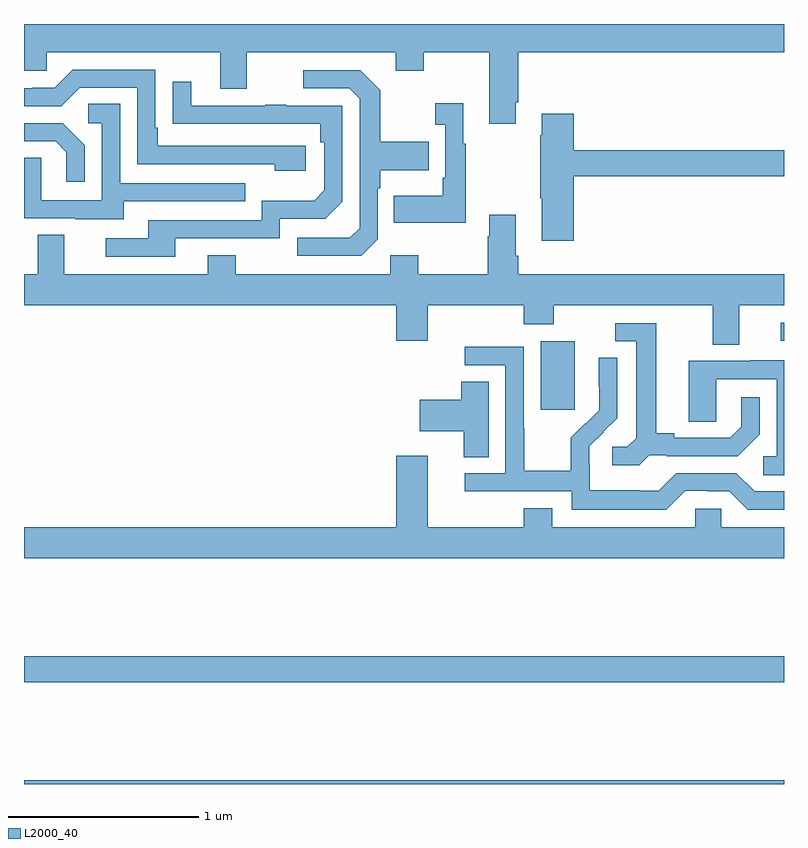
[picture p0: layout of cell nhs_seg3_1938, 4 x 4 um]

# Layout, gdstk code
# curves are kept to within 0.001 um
import gdstk
lib = gdstk.Library(unit=1e-6, precision=1e-09)
def R(c, l, rs):  # rectangles x0, y0, x1, y1
    for r in rs: c.add(gdstk.rectangle(r[:2], r[2:], *l))
def P(c, l, *ps):  # polygons
    for p in ps: c.add(gdstk.Polygon(p, *l))
L2000_40 = (2000, 40)

nhs_seg3_1938 = lib.new_cell('nhs_seg3_1938')
R(nhs_seg3_1938, L2000_40, [(211,694.4,215,694.42), (211,694.936,215,695.072), (213.719,696.369,213.898,696.73), (214.983,696.732,215,696.828)])
P(nhs_seg3_1938, L2000_40, [(211,698.154),(211.119,698.154),(211.119,698.252),(212.033,698.252),(212.033,698.058),(212.173,698.058),(212.173,698.252),(212.957,698.252),(212.957,698.153),(213.105,698.153),(213.105,698.252),(213.449,698.252),(213.449,697.875),(213.589,697.875),(213.589,697.987),(213.602,697.987),(213.602,698.252),(215,698.252),(215,698.4),(211,698.4)],
  [(212.482,697.758),(211.705,697.758),(211.705,697.855),(211.692,697.855),(211.692,698.16),(211.257,698.16),(211.161,698.064),(211.043,698.064),(211.043,698.061),(211,698.061),(211,697.968),(211.197,697.968),(211.293,698.064),(211.596,698.064),(211.596,697.662),(212.321,697.662),(212.321,697.628),(212.482,697.628)],
  [(212.862,697.266),(212.862,697.535),(212.875,697.535),(212.875,697.631),(213.131,697.631),(213.131,697.779),(212.875,697.779),(212.875,698.051),(212.769,698.157),(212.469,698.157),(212.469,698.061),(212.712,698.061),(212.766,698.007),(212.766,697.326),(212.715,697.275),(212.439,697.275),(212.439,697.179),(212.775,697.179)],
  [(211.795,697.272),(212.346,697.272),(212.346,697.374),(212.586,697.374),(212.676,697.464),(212.676,697.971),(212.381,697.971),(212.381,697.976),(212.269,697.976),(212.269,697.971),(211.879,697.971),(211.879,698.095),(211.783,698.095),(211.783,697.876),(212.56,697.875),(212.56,697.778),(212.58,697.778),(212.58,697.524),(212.527,697.471),(212.25,697.471),(212.25,697.368),(211.655,697.368),(211.655,697.272),(211.431,697.272),(211.431,697.176),(211.795,697.176)],
  [(213.325,697.771),(213.313,697.771),(213.313,697.984),(213.165,697.984),(213.165,697.871),(213.216,697.871),(213.216,697.591),(213.204,697.591),(213.204,697.495),(212.947,697.495),(212.947,697.355),(213.325,697.355)],
  [(211.525,697.467),(212.165,697.467),(212.165,697.563),(211.506,697.563),(211.506,697.979),(211.338,697.979),(211.338,697.878),(211.41,697.878),(211.41,697.473),(211.092,697.473),(211.092,697.697),(211,697.697),(211,697.377),(211.271,697.377),(211.271,697.373),(211.525,697.373)],
  [(213.893,697.6),(215,697.6),(215,697.736),(213.893,697.736),(213.893,697.927),(213.725,697.927),(213.725,697.814),(213.718,697.814),(213.718,697.483),(213.725,697.483),(213.725,697.26),(213.893,697.26)],
  [(211.32,697.762),(211.204,697.878),(211,697.878),(211,697.782),(211.166,697.782),(211.223,697.725),(211.223,697.569),(211.32,697.569)],
  [(214.765,696.92),(215,696.92),(215,697.084),(213.602,697.084),(213.602,697.18),(213.589,697.18),(213.589,697.396),(213.449,697.396),(213.449,697.283),(213.442,697.283),(213.442,697.084),(213.075,697.084),(213.075,697.183),(212.928,697.183),(212.928,697.084),(212.115,697.084),(212.115,697.183),(211.967,697.183),(211.967,697.084),(211.213,697.084),(211.213,697.292),(211.073,697.292),(211.073,697.084),(211,697.084),(211,696.92),(212.96,696.92),(212.96,696.732),(213.124,696.732),(213.124,696.92),(213.629,696.92),(213.629,696.821),(213.789,696.821),(213.789,696.92),(214.625,696.92),(214.625,696.712),(214.765,696.712)],
  [(214.29,696.129),(214.384,696.129),(214.384,696.126),(214.756,696.126),(214.872,696.242),(214.872,696.436),(214.775,696.436),(214.775,696.279),(214.718,696.222),(214.423,696.222),(214.423,696.245),(214.327,696.245),(214.327,696.825),(214.113,696.825),(214.113,696.729),(214.223,696.729),(214.223,696.221),(214.176,696.174),(214.095,696.174),(214.095,696.077),(214.238,696.077)],
  [(214.479,695.943),(214.595,695.943),(214.595,695.94),(214.713,695.94),(214.809,695.844),(215,695.844),(215,695.94),(214.845,695.94),(214.749,696.036),(214.434,696.036),(214.341,695.943),(214.241,695.943),(214.241,695.947),(213.978,695.947),(213.978,696.081),(213.976,696.081),(213.976,696.178),(214.122,696.326),(214.122,696.644),(214.026,696.644),(214.026,696.49),(214.028,696.49),(214.028,696.368),(213.957,696.297),(213.954,696.3),(213.877,696.223),(213.877,696.049),(213.633,696.049),(213.633,696.272),(213.63,696.272),(213.63,696.702),(213.321,696.702),(213.321,696.603),(213.534,696.603),(213.534,696.036),(213.321,696.036),(213.321,695.94),(213.882,695.94),(213.882,695.843),(214.379,695.843)],
  [(215,696.631),(214.823,696.631),(214.823,696.627),(214.499,696.627),(214.499,696.307),(214.644,696.307),(214.644,696.531),(214.962,696.531),(214.962,696.126),(214.89,696.126),(214.89,696.025),(215,696.025)],
  [(213.445,696.518),(213.302,696.518),(213.302,696.423),(213.084,696.423),(213.084,696.257),(213.314,696.257),(213.314,696.121),(213.445,696.121)],
  [(215,695.752),(214.671,695.752),(214.671,695.85),(214.533,695.85),(214.533,695.752),(213.781,695.752),(213.781,695.851),(213.629,695.851),(213.629,695.752),(213.124,695.752),(213.124,696.127),(212.96,696.127),(212.96,695.752),(211,695.752),(211,695.588),(215,695.588)])

lib.write_gds('nhs_seg3_1938.gds')
